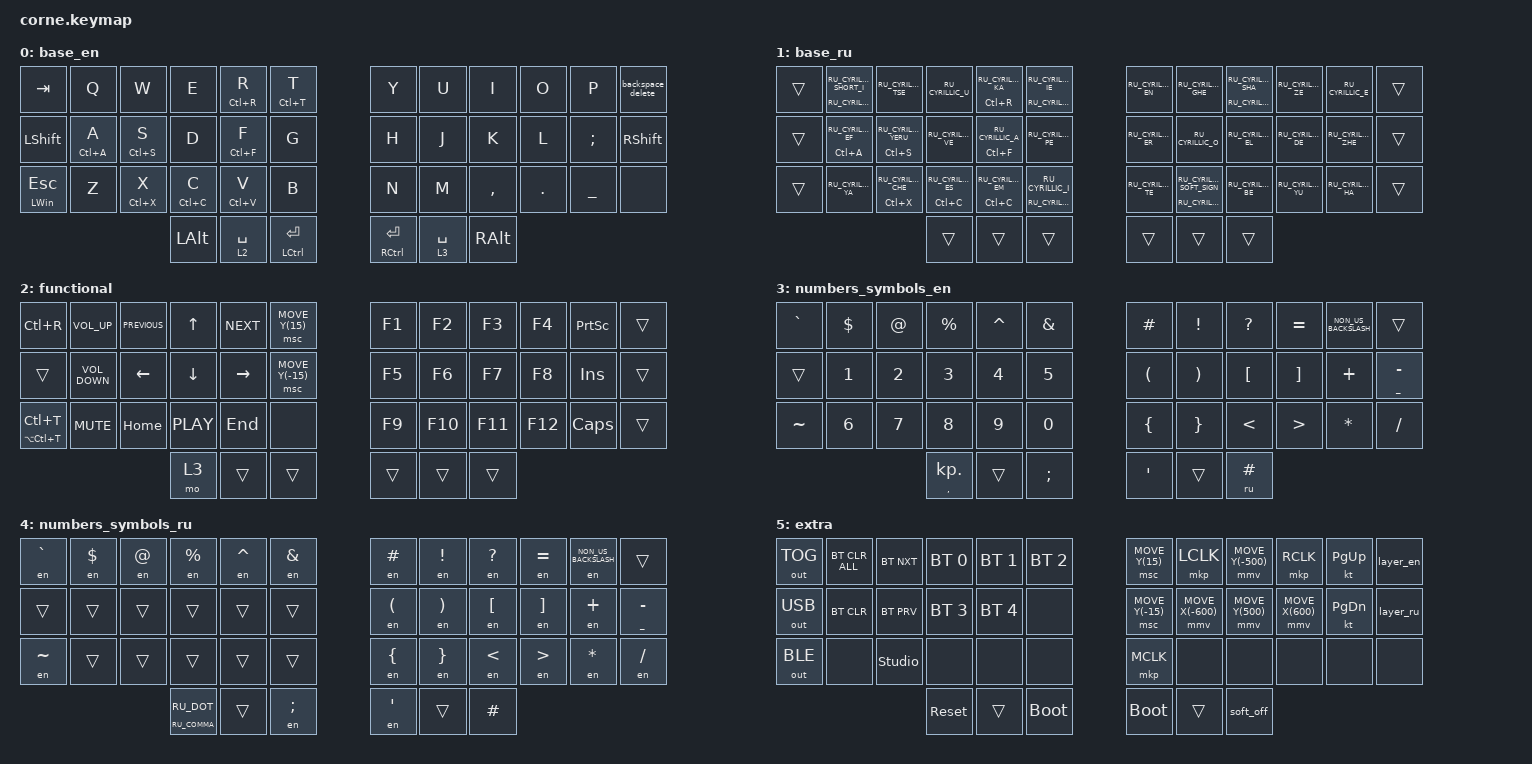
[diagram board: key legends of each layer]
/*
 * Copyright (c) 2020 The ZMK Contributors
 *
 * SPDX-License-Identifier: MIT
 */

#define ZMK_POINTING_DEFAULT_MOVE_VAL 1500  // default: 600
#define ZMK_POINTING_DEFAULT_SCRL_VAL 20    // default: 10

#include "keys_ru.h"
#include <behaviors.dtsi>
#include <dt-bindings/zmk/bt.h>
#include <dt-bindings/zmk/keys.h>
#include <dt-bindings/zmk/outputs.h>
#include <dt-bindings/zmk/pointing.h>

/ {
    combos { compatible = "zmk,combos"; };

    behaviors {
        hml: hml {
            compatible = "zmk,behavior-hold-tap";
            label = "HML";
            bindings = <&kp>, <&kp>;

            #binding-cells = <2>;
            tapping-term-ms = <220>;
            quick-tap-ms = <175>;
            flavor = "balanced";
            require-prior-idle-ms = <100>;
            hold-trigger-key-positions = <39 40 41 30 18 6 7 9 10 11 18 19 20 21 22 23 30 31 32 33 34 35 40 41 8 36 37 38>;
            hold-trigger-on-release;
        };

        hmr: hmr {
            compatible = "zmk,behavior-hold-tap";
            label = "HMR";
            bindings = <&kp>, <&kp>;

            #binding-cells = <2>;
            tapping-term-ms = <220>;
            quick-tap-ms = <175>;
            require-prior-idle-ms = <100>;
            flavor = "balanced";
            hold-trigger-key-positions = <0 1 2 3 4 5 12 13 14 15 16 17 24 25 26 27 28 29 36 37 38 39 40 41>;
            hold-trigger-on-release;
        };

        tkl: tkl {
            compatible = "zmk,behavior-hold-tap";
            label = "TKL";
            bindings = <&mo>, <&kp>;

            #binding-cells = <2>;
            tapping-term-ms = <220>;
            quick-tap-ms = <175>;
            flavor = "balanced";
            require-prior-idle-ms = <100>;
            hold-trigger-key-positions = <39 40 41 30 18 6 7 9 10 11 18 19 20 21 22 23 30 31 32 33 34 35 40 41 8 38 37 36>;
            hold-trigger-on-release;
        };

        tkr: tkr {
            compatible = "zmk,behavior-hold-tap";
            label = "TKR";
            bindings = <&mo>, <&kp>;

            #binding-cells = <2>;
            tapping-term-ms = <220>;
            quick-tap-ms = <175>;
            require-prior-idle-ms = <100>;
            flavor = "balanced";
            hold-trigger-key-positions = <0 1 2 3 4 5 12 13 14 15 16 17 24 25 26 27 28 29 36 37 38 39 40 41>;
            hold-trigger-on-release;
        };

        on: on {
            compatible = "zmk,behavior-toggle-layer";
            #binding-cells = <1>;
            toggle-mode = "on";
        };

        off: off {
            compatible = "zmk,behavior-toggle-layer";
            #binding-cells = <1>;
            toggle-mode = "off";
        };

        backspace_delete: backspace_delete {
            compatible = "zmk,behavior-mod-morph";
            label = "BACKSPACE_DELETE";
            bindings = <&hml LC(DELETE) DELETE>, <&hml LC(BACKSPACE) BACKSPACE>;

            #binding-cells = <0>;
            mods = <(MOD_LSFT|MOD_RSFT)>;
        };
    };

    macros {
        layer_en: layer_en {
            compatible = "zmk,behavior-macro";
            #binding-cells = <0>;
            bindings = <&off 1>, <&macro_tap>, <&kp LA(LS(NUMBER_0))>;

            label = "LAYER_EN";
        };

        layer_ru: layer_ru {
            compatible = "zmk,behavior-macro";
            #binding-cells = <0>;
            bindings = <&on 1>, <&macro_tap>, <&kp LA(LS(NUMBER_1))>;

            label = "LAYER_RU";
        };

        en: en {
            compatible = "zmk,behavior-macro-one-param";
            #binding-cells = <1>;
            bindings =
                <&macro_tap>,
                <&kp LA(LS(NUMBER_0))>,
                <&macro_press>,
                <&macro_param_1to1 &kp MACRO_PLACEHOLDER>,
                <&macro_pause_for_release>,
                <&macro_release>,
                <&macro_param_1to1 &kp MACRO_PLACEHOLDER>,
                <&macro_tap_time 30>,
                <&macro_tap>,
                <&kp LA(LS(NUMBER_1))>;

            label = "EN";
        };

        ru: ru {
            compatible = "zmk,behavior-macro-one-param";
            #binding-cells = <1>;
            bindings =
                <&macro_tap>,
                <&kp LA(LS(NUMBER_1))>,
                <&macro_press>,
                <&macro_param_1to1 &kp MACRO_PLACEHOLDER>,
                <&macro_pause_for_release>,
                <&macro_release>,
                <&macro_param_1to1 &kp MACRO_PLACEHOLDER>,
                <&macro_tap_time 30>,
                <&macro_tap>,
                <&kp LA(LS(NUMBER_0))>;

            label = "RU";
        };
    };

    keymap {
        compatible = "zmk,keymap";

        base_en {
            // -----------------------------------------------------------------------------------------
            // |  TAB |  Q  |  W  |  E  |  R  |  T  |   |  Y  |  U   |  I  |  O  |  P  | BKSP |
            // | CTRL |  A  |  S  |  D  |  F  |  G  |   |  H  |  J   |  K  |  L  |  ;  |  '   |
            // | SHFT |  Z  |  X  |  C  |  V  |  B  |   |  N  |  M   |  ,  |  .  |  /  | ESC  |
            //                    | GUI | LWR | SPC |   | ENT | RSE  | ALT |

            bindings = <
&kp TAB         &kp Q         &kp W         &kp E         &hml LC(R) R  &hml LC(T) T        &kp Y             &kp U         &kp I          &kp O       &kp P           &backspace_delete
&kp LEFT_SHIFT  &hml LC(A) A  &hml LC(S) S  &kp D         &hml LC(F) F  &kp G               &kp H             &kp J         &kp K          &kp L       &kp SEMICOLON   &kp RSHFT
&hml LWIN ESC   &kp Z         &hml LC(X) X  &hml LC(C) C  &hml LC(V) V  &kp B               &kp N             &kp M         &kp COMMA      &kp PERIOD  &kp UNDERSCORE  &none
                                            &kp LEFT_ALT  &tkl 2 SPACE  &hml LCTRL ENTER    &hml RCTRL ENTER  &tkr 3 SPACE  &kp RIGHT_ALT
            >;
        };

        base_ru {
            bindings = <
&trans  &hml RU_CYRILLIC_I RU_CYRILLIC_SHORT_I  &kp RU_CYRILLIC_TSE          &kp RU_CYRILLIC_U          &hml LC(R) RU_CYRILLIC_KA  &hml RU_CYRILLIC_IO RU_CYRILLIC_IE        &kp RU_CYRILLIC_EN  &kp RU_CYRILLIC_GHE                               &hml RU_CYRILLIC_SHCHA RU_CYRILLIC_SHA  &kp RU_CYRILLIC_ZE  &kp RU_CYRILLIC_E    &trans
&trans  &hml LC(A) RU_CYRILLIC_EF               &hml LC(S) RU_CYRILLIC_YERU  &kp RU_CYRILLIC_VE         &hml LC(F) RU_CYRILLIC_A   &kp RU_CYRILLIC_PE                        &kp RU_CYRILLIC_ER  &kp RU_CYRILLIC_O                                 &kp RU_CYRILLIC_EL                      &kp RU_CYRILLIC_DE  &kp RU_CYRILLIC_ZHE  &trans
&trans  &kp RU_CYRILLIC_YA                      &hml LC(X) RU_CYRILLIC_CHE   &hml LC(C) RU_CYRILLIC_ES  &hml LC(C) RU_CYRILLIC_EM  &hml RU_CYRILLIC_SHORT_I RU_CYRILLIC_I    &kp RU_CYRILLIC_TE  &hml RU_CYRILLIC_HARD_SIGN RU_CYRILLIC_SOFT_SIGN  &kp RU_CYRILLIC_BE                      &kp RU_CYRILLIC_YU  &kp RU_CYRILLIC_HA   &trans
                                                                             &trans                     &trans                     &trans                                    &trans              &trans                                            &trans
            >;
        };

        functional {
            bindings = <
&kp LC(R)             &kp C_VOLUME_UP    &kp C_PREVIOUS  &kp UP_ARROW    &kp C_NEXT       &msc MOVE_Y(15)     &kp F1  &kp F2   &kp F3   &kp F4   &kp PRINTSCREEN  &trans
&trans                &kp C_VOLUME_DOWN  &kp LEFT_ARROW  &kp DOWN_ARROW  &kp RIGHT_ARROW  &msc MOVE_Y(-15)    &kp F5  &kp F6   &kp F7   &kp F8   &kp INSERT       &trans
&hml LA(LC(T)) LC(T)  &kp C_MUTE         &kp HOME        &kp C_PLAY      &kp END          &none               &kp F9  &kp F10  &kp F11  &kp F12  &kp CAPS         &trans
                                                         &mo 3           &trans           &trans              &trans  &trans   &trans
            >;
        };

        numbers_symbols_en {
            bindings = <
&kp GRAVE  &kp DOLLAR    &kp AT_SIGN   &kp PRCNT          &kp CARET     &kp AMPS         &kp HASH              &kp EXCLAMATION        &kp QMARK         &kp EQUAL          &kp NON_US_BACKSLASH  &trans
&trans     &kp N1        &kp NUMBER_2  &kp NUMBER_3       &kp NUMBER_4  &kp NUMBER_5     &kp LEFT_PARENTHESIS  &kp RIGHT_PARENTHESIS  &kp LEFT_BRACKET  &kp RIGHT_BRACKET  &kp PLUS              &hml UNDER MINUS
&kp TILDE  &kp NUMBER_6  &kp NUMBER_7  &kp NUMBER_8       &kp NUMBER_9  &kp NUMBER_0     &kp LEFT_BRACE        &kp RIGHT_BRACE        &kp LESS_THAN     &kp GREATER_THAN   &kp ASTERISK          &kp SLASH
                                       &hml COMMA KP_DOT  &trans        &kp SEMICOLON    &kp SINGLE_QUOTE      &trans                 &ru HASH
            >;
        };

        numbers_symbols_ru {
            bindings = <
&en GRAVE  &en DOLLAR  &en AT_SIGN  &en PERCENT           &en CARET  &en AMPS         &en HASH              &en EXCLAMATION        &en QMARK         &en EQUAL          &en NON_US_BACKSLASH  &trans
&trans     &trans      &trans       &trans                &trans     &trans           &en LEFT_PARENTHESIS  &en RIGHT_PARENTHESIS  &en LEFT_BRACKET  &en RIGHT_BRACKET  &en PLUS              &hml UNDER MINUS
&en TILDE  &trans      &trans       &trans                &trans     &trans           &en LEFT_BRACE        &en RIGHT_BRACE        &en LESS_THAN     &en GREATER_THAN   &en ASTERISK          &en SLASH
                                    &hml RU_COMMA RU_DOT  &trans     &en SEMICOLON    &en SINGLE_QUOTE      &trans                 &kp HASH
            >;
        };

        extra {
            bindings = <
&out OUT_TOG  &bt BT_CLR_ALL  &bt BT_NXT      &bt BT_SEL 0  &bt BT_SEL 1  &bt BT_SEL 2    &msc MOVE_Y(15)   &mkp LCLK          &mmv MOVE_Y(-500)  &mkp RCLK         &kt PAGE_UP    &layer_en
&out OUT_USB  &bt BT_CLR      &bt BT_PRV      &bt BT_SEL 3  &bt BT_SEL 4  &none           &msc MOVE_Y(-15)  &mmv MOVE_X(-600)  &mmv MOVE_Y(500)   &mmv MOVE_X(600)  &kt PAGE_DOWN  &layer_ru
&out OUT_BLE  &none           &studio_unlock  &none         &none         &none           &mkp MCLK         &none              &none              &none             &none          &none
                                              &sys_reset    &trans        &bootloader     &bootloader       &trans             &soft_off
            >;
        };
    };

    conditional_layers {
        compatible = "zmk,conditional-layers";

        on_extra {
            if-layers = <2 3>;
            then-layer = <5>;
        };

        ru_num {
            if-layers = <1 3>;
            then-layer = <4>;
        };
    };
};
